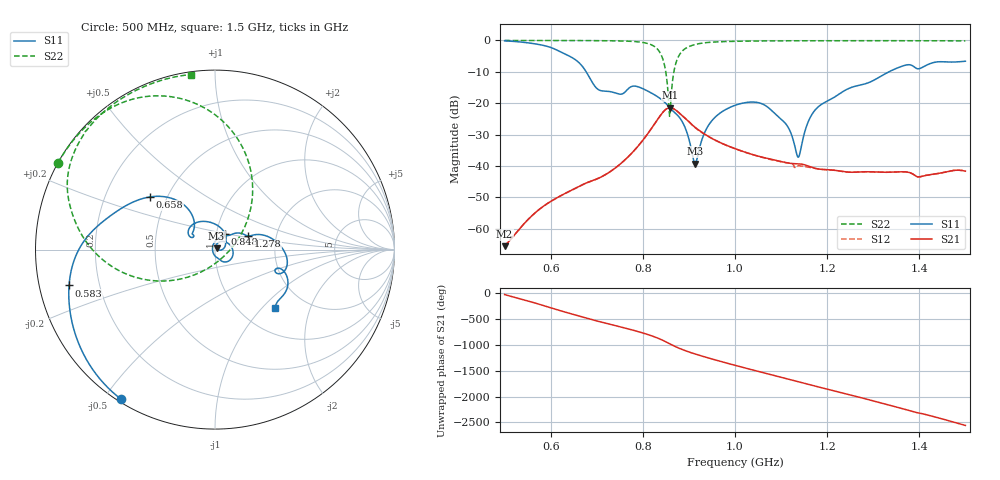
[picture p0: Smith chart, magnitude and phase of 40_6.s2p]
! TOUCHSTONE file generated by CST MICROWAVE STUDIO
! Date and time: Sat Oct 24 11:50:27 2020
! Project name: Scenario_1_Circular_Tissue_out_of_Line.cst
! Parameters = {dy1=330.299; L_HA=400; MT=2.54; Rad_Dielectric=30; Rad_Lower=7.3; Rad_Upper=30; a_HA=580; a_WG=246; b_HA=500; b_WG=121; c_HA=0; c_WG=187; d_feed=85; dx1=1039; h_feed=15; h_lower=18; h_upper=40}
! Header version: 2018
! Port assignment regex: !\s*Touchstone port\s*([0-9]+)\s*=\s*(CST MWS port|CST DS port)\s*([0-9]+|Zmin|Zmax)\s*\(\"(.*)\"\)(\s*mode\s*([0-9]+))?.*
! Touchstone port assignment:
! Touchstone port 1 = CST MWS port 1 ("")
! Touchstone port 2 = CST MWS port 2 ("")
# GHz S DB R 50
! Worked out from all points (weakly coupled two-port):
!   1001 points, 500 MHz to 1.5 GHz, reference 50 ohm
!   highest |S21| = -21.42 dB at 859 MHz (marker M1); lowest = -65.5 dB at 500 MHz (marker M2)
!   lowest |S11| = -39.2 dB at 914 MHz (marker M3), VSWR 1.02, Z = 50.9 + j0.678 ohm
!   |S11| at or under -10 dB: 677.1 MHz to 1.334 GHz (656.8 MHz wide, 65.3 % of centre)
!   |S22| runs from -24.2 to 0.0 dB; largest |S21 - S12| = 0.0015
!   S11 on the Smith chart (normalised r, x): 500 MHz: 0.01, -0.55; 583 MHz: 0.09, -0.12; 658 MHz: 0.40, +0.30; 848 MHz: 1.10, +0.19; 1.278 GHz: 1.43, +0.22; 1.5 GHz: 1.41, -1.18
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0.5  -0.14 -122.2  -65.50 -23.6  -65.37 -24.2  -0.01 151.1
0.583  -1.54 -166.2  -52.92 126.9  -52.92 127.0  -0.02 145.4
0.658  -6.64 140.9  -46.74 -70.8  -46.75 -70.8  -0.04 139.2
0.667  -7.94 132.9  -46.07 -93.4  -46.08 -93.4  -0.04 138.4
0.707  -15.90 138.1  -43.65 169.5  -43.65 169.5  -0.07 134.0
0.779  -14.55 137.9  -35.40 5.9  -35.42 6.0  -0.33 120.7
0.815  -16.46 96.6  -28.81 -89.9  -28.80 -89.8  -1.19 104.1
0.834  -18.12 74.5  -24.73 -153.1  -24.72 -153.0  -3.17 84.4
0.848  -19.77 56.3  -22.18 149.7  -22.18 149.7  -8.57 55.9
0.859  -21.51 42.9  -21.42 99.4  -21.42 99.4  -23.57 -72.8
0.869  -22.96 32.4  -21.94 55.2  -21.94 55.2  -8.76 -151.4
0.877  -24.10 21.9  -22.85 23.2  -22.85 23.2  -5.21 -167.8
0.914  -39.20 37.4  -27.73 -95.8  -27.85 -96.5  -1.27 160.9
0.946  -26.27 60.3  -30.88 179.1  -30.90 179.2  -0.59 150.1
1  -20.66 9.8  -34.45 46.4  -34.46 46.4  -0.28 140.3
1.072  -21.35 -53.4  -37.61 -121.2  -37.73 -121.4  -0.15 132.3
1.114  -27.34 -80.3  -38.99 141.3  -38.97 141.0  -0.12 128.6
1.137  -37.18 -173.8  -39.27 88.6  -39.89 85.0  -0.11 126.6
1.167  -23.55 73.1  -40.44 17.1  -40.59 18.2  -0.10 124.2
1.278  -13.99 22.1  -41.82 129.5  -41.83 129.6  -0.08 115.8
1.334  -9.99 12.0  -41.96 -1.5  -41.96 -1.4  -0.09 111.5
1.5  -6.62 -44.6  -41.62 -37.8  -41.61 -37.7  -0.13 98.0
